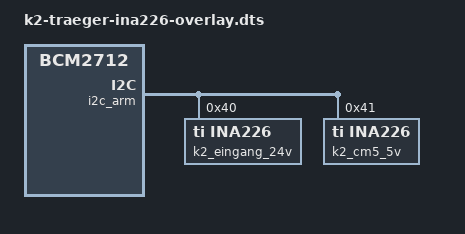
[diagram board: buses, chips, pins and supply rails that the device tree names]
// K2-CM5-Traeger Alpha 1: INA226-Strommesser an I2C1 (GPIO2 SDA / GPIO3 SCL)
// als hwmon (Treiber ina2xx). Erzeugen auf dem Pi (macht install-traeger.sh):
//   dtc -@ -I dts -O dtb -o /boot/firmware/overlays/k2-traeger-ina226.dtbo \
//       k2-traeger-ina226-overlay.dts
// Laden: dtoverlay=k2-traeger-ina226 (config.txt)
//
// Adressen laut Schaltplan (generator/k2_traeger.py, INA226 A1/A0):
//   U4 0x40: A1 = A0 = GND, Shunt R23 5 mOhm, misst 24-V-Eingang (hinter F1),
//            ALERT -> PWR_FAIL_N -> GPIO27 (Stromausfall, k2_stromausfall)
//   U5 0x41: A1 = GND, A0 = VS, Shunt R24 10 mOhm, misst CM5-5V
// shunt-resistor in Mikroohm (Bindung ti,ina2xx.yaml). Der Treiber setzt beim
// Laden ALERT-Latch EIN (ina2xx.c, ina2xx_init) - k2_stromausfall rechnet damit.
// Ein INA226 0x44 (Toolhead) gibt es seit dem Umbau 24.10.2026 nicht mehr.

/dts-v1/;
/plugin/;

/ {
	compatible = "brcm,bcm2712";

	fragment@0 {
		target = <&i2c_arm>;
		__overlay__ {
			#address-cells = <1>;
			#size-cells = <0>;
			status = "okay";

			k2_ina_eingang: ina226@40 {
				compatible = "ti,ina226";
				reg = <0x40>;
				shunt-resistor = <5000>;
				label = "k2_eingang_24v";
				status = "okay";
			};

			k2_ina_cm5: ina226@41 {
				compatible = "ti,ina226";
				reg = <0x41>;
				shunt-resistor = <10000>;
				label = "k2_cm5_5v";
				status = "okay";
			};
		};
	};

	__overrides__ {
		// z. B. dtoverlay=k2-traeger-ina226,shunt40=5000
		shunt40 = <&k2_ina_eingang>,"shunt-resistor:0";
		shunt41 = <&k2_ina_cm5>,"shunt-resistor:0";
		ina41 = <&k2_ina_cm5>,"status";
	};
};
